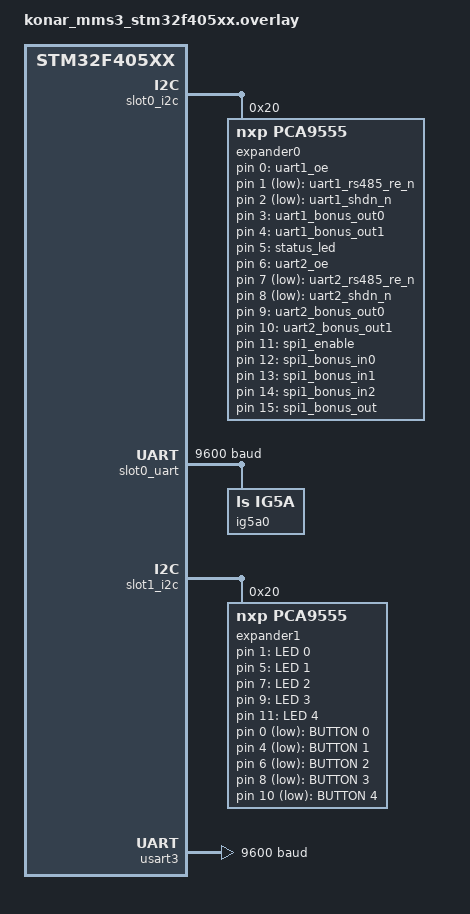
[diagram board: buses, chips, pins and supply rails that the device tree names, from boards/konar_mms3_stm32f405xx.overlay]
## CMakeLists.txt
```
cmake_minimum_required(VERSION 3.20.0)
set(CMAKE_EXPORT_COMPILE_COMMANDS ON)

find_package(Zephyr REQUIRED HINTS $ENV{ZEPHYR_BASE})
project(MMS3_panel_kruszarka)

target_sources(app PRIVATE src/main.c)
```

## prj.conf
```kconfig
# Enable the console subsystem
CONFIG_CONSOLE=y
CONFIG_I2C=y

CONFIG_USE_SEGGER_RTT=y
CONFIG_RTT_CONSOLE=y

# Optional: Enable full logging system if you want to use LOG_INF() macros
CONFIG_LOG=y
CONFIG_LOG_BACKEND_RTT=y

CONFIG_LOG_DEFAULT_LEVEL=3

CONFIG_MMS_CHAINBUS=y
CONFIG_GPIO_PCA_SERIES=y
CONFIG_GPIO_PCA_SERIES_INIT_PRIORITY=61

CONFIG_RTC=y

CONFIG_IG5A=y
```

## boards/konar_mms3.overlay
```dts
/* SPDX-License-Identifier: Apache-2.0 */
chainbus_i2c: &i2c2 {};
chainbus_spi: &spi3 {};

&usart3{
    current-speed = <9600>;
};


/ {
    aliases {
        chainbus-led0 = &hat1_led0;
        chainbus-led1 = &hat1_led1;
        chainbus-led2 = &hat1_led2;
        chainbus-led3 = &hat1_led3;
        chainbus-led4 = &hat1_led4;

        chainbus-button0 = &hat1_button0;
        chainbus-button1 = &hat1_button1;
        chainbus-button2 = &hat1_button2;
        chainbus-button3 = &hat1_button3;
        chainbus-button4 = &hat1_button4;
    };
    /* Parent Chainbus Hardware Controller */
    chainbus0: chainbus {
        compatible = "konar,mms-chainbus";
        status = "okay";

        /* 8 Slot Chip Select GPIOs (Adjust pin assignments for your board) */
        cs-gpios = <&gpioc 9 GPIO_ACTIVE_LOW>,  /* Slot 0 */
               <&gpiob 5 GPIO_ACTIVE_LOW>,  /* Slot 1 */
               <&gpioa 7 GPIO_ACTIVE_LOW>,  /* Slot 2 */
               <&gpioa 6 GPIO_ACTIVE_LOW>,  /* Slot 3 */
               <&gpioa 5 GPIO_ACTIVE_LOW>,  /* Slot 4 */
               <&gpioc 6 GPIO_ACTIVE_LOW>,  /* Slot 5 */
               <&gpioc 7 GPIO_ACTIVE_LOW>,  /* Slot 6 */
               <&gpioc 8 GPIO_ACTIVE_LOW>;  /* Slot 7 */

        #address-cells = <1>;
        #size-cells = <0>;

        hat_protocol: hat0@0{
            compatible = "konar,mms-hat";
            reg = <0>;


            slot0_i2c: i2c-bridge {
                compatible = "konar,mms-hat-i2c-bridge";
                i2c-bus = <&i2c2>; /* Physical I2C Controller */
                #address-cells = <1>;
                #size-cells = <0>;

                expander0: gpio@20 {
                    compatible = "nxp,pca9555";
                    reg = <0x20>;
                    gpio-controller;
                    #gpio-cells = <2>;
                    ngpios = <16>;
                    status = "okay";
                };
            };


            slot0_uart: uart-bridge{
                compatible = "konar,mms-hat-uart-bridge";
                uart-bus = <&usart3>;
                current-speed = <9600>;
            };

                        /*
             * TCA9535 GPIO pinout
             *
             * P00-P07 = GPIO 0-7
             * P10-P17 = GPIO 8-15
             */
             
            hat0_gpios {
                compatible = "gpio-leds";

                /* UART 1 */
                
                uart1_oe: uart1-oe {
                    gpios = <&expander0 0 GPIO_ACTIVE_HIGH>;
                    label = "uart1_oe";
                };

                uart1_rs485_re_n: uart1-rs485-re-n {
                    gpios = <&expander0 1 GPIO_ACTIVE_LOW>;
                    label = "uart1_rs485_re_n";
                };

                uart1_shdn_n: uart1-shdn-n {
                    gpios = <&expander0 2 GPIO_ACTIVE_LOW>;
                    label = "uart1_shdn_n";
                };

                uart1_bonus_out0: uart1-bonus-out0 {
                    gpios = <&expander0 3 GPIO_ACTIVE_HIGH>;
                    label = "uart1_bonus_out0";
                };

                uart1_bonus_out1: uart1-bonus-out1 {
                    gpios = <&expander0 4 GPIO_ACTIVE_HIGH>;
                    label = "uart1_bonus_out1";
                };

                status_led: status-led {
                    gpios = <&expander0 5 GPIO_ACTIVE_HIGH>;
                    label = "status_led";
                };
                

                /* UART 2 */
                
                uart2_oe: uart2-oe {
                    gpios = <&expander0 6 GPIO_ACTIVE_HIGH>;
                    label = "uart2_oe";
                };

                uart2_rs485_re_n: uart2-rs485-re-n {
                    gpios = <&expander0 7 GPIO_ACTIVE_LOW>;
                    label = "uart2_rs485_re_n";
                };

                uart2_shdn_n: uart2-shdn-n {
                    gpios = <&expander0 8 GPIO_ACTIVE_LOW>;
                    label = "uart2_shdn_n";
                };

                uart2_bonus_out0: uart2-bonus-out0 {
                    gpios = <&expander0 9 GPIO_ACTIVE_HIGH>;
                    label = "uart2_bonus_out0";
                };

                uart2_bonus_out1: uart2-bonus-out1 {
                    gpios = <&expander0 10 GPIO_ACTIVE_HIGH>;
                    label = "uart2_bonus_out1";
                };

                /* SPI 1 */
                spi1_enable: spi1-enable {
                    gpios = <&expander0 11 GPIO_ACTIVE_HIGH>;
                    label = "spi1_enable";
                };

                spi1_bonus_in0: spi1-bonus-in0 {
                    gpios = <&expander0 12 GPIO_ACTIVE_HIGH>;
                    label = "spi1_bonus_in0";
                };

                spi1_bonus_in1: spi1-bonus-in1 {
                    gpios = <&expander0 13 GPIO_ACTIVE_HIGH>;
                    label = "spi1_bonus_in1";
                };

                spi1_bonus_in2: spi1-bonus-in2 {
                    gpios = <&expander0 14 GPIO_ACTIVE_HIGH>;
                    label = "spi1_bonus_in2";
                };

                spi1_bonus_out: spi1-bonus-out {
                    gpios = <&expander0 15 GPIO_ACTIVE_HIGH>;
                    label = "spi1_bonus_out";
                };
            };
            
        };

        hat_expander: hat1@1{
            compatible = "konar,mms-hat";
            reg = <1>;

            slot1_i2c: i2c-bridge{
                compatible = "konar,mms-hat-i2c-bridge";
                i2c-bus = <&i2c2>;
                #address-cells = <1>;
                #size-cells = <0>;

                expander1: gpio@20 {
                    compatible = "nxp,pca9555";
                    reg = <0x20>;
                    gpio-controller;
                    #gpio-cells = <2>;
                    ngpios = <16>;
                };
            };

            leds{
                compatible = "gpio-leds";
                hat1_led0: led_0{
                    label = "LED 0";
                    gpios = <&expander1 1 GPIO_ACTIVE_HIGH>;
                };
                hat1_led1: led_1{
                    label = "LED 1";
                    gpios = <&expander1 5 GPIO_ACTIVE_HIGH>;
                };
                hat1_led2: led_2{
                    label = "LED 2";
                    gpios = <&expander1 7 GPIO_ACTIVE_HIGH>;
                };
                hat1_led3: led_3{
                    label = "LED 3";
                    gpios = <&expander1 9 GPIO_ACTIVE_HIGH>;
                };
                hat1_led4: led_4{
                    label = "LED 4";
                    gpios = <&expander1 11 GPIO_ACTIVE_HIGH>;
                };
            };
            buttons{
                compatible = "gpio-keys";
                hat1_button0: button_0{
                    label = "BUTTON 0";
                    gpios = <&expander1 0 (GPIO_PULL_UP | GPIO_ACTIVE_LOW)>;
                };
                hat1_button1: button_1{
                    label = "BUTTON 1";
                    gpios = <&expander1 4 (GPIO_PULL_UP | GPIO_ACTIVE_LOW)>;
                };
                hat1_button2: button_2{
                    label = "BUTTON 2";
                    gpios = <&expander1 6 (GPIO_PULL_UP | GPIO_ACTIVE_LOW)>;
                };
                hat1_button3: button_3{
                    label = "BUTTON 3";
                    gpios = <&expander1 8 (GPIO_PULL_UP | GPIO_ACTIVE_LOW)>;
                };
                hat1_button4: button_4{
                    label = "BUTTON 4";
                    gpios = <&expander1 10 (GPIO_PULL_UP | GPIO_ACTIVE_LOW)>;
                };
            };

        };

    };
};
```

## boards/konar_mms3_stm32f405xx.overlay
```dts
/* SPDX-License-Identifier: Apache-2.0 */
chainbus_i2c: &i2c2 {};
chainbus_spi: &spi3 {};

&usart3{
    current-speed = <9600>;
};


/ {
    aliases {
        chainbus-led0 = &hat1_led0;
        chainbus-led1 = &hat1_led1;
        chainbus-led2 = &hat1_led2;
        chainbus-led3 = &hat1_led3;
        chainbus-led4 = &hat1_led4;

        chainbus-button0 = &hat1_button0;
        chainbus-button1 = &hat1_button1;
        chainbus-button2 = &hat1_button2;
        chainbus-button3 = &hat1_button3;
        chainbus-button4 = &hat1_button4;
    };


    /* Parent Chainbus Hardware Controller */
    chainbus0: chainbus {
        compatible = "konar,mms-chainbus";
        status = "okay";

        /* 8 Slot Chip Select GPIOs (Adjust pin assignments for your board) */
        cs-gpios = <&gpioc 9 GPIO_ACTIVE_LOW>,  /* Slot 0 */
               <&gpiob 5 GPIO_ACTIVE_LOW>,  /* Slot 1 */
               <&gpioa 7 GPIO_ACTIVE_LOW>,  /* Slot 2 */
               <&gpioa 6 GPIO_ACTIVE_LOW>,  /* Slot 3 */
               <&gpioa 5 GPIO_ACTIVE_LOW>,  /* Slot 4 */
               <&gpioc 6 GPIO_ACTIVE_LOW>,  /* Slot 5 */
               <&gpioc 7 GPIO_ACTIVE_LOW>,  /* Slot 6 */
               <&gpioc 8 GPIO_ACTIVE_LOW>;  /* Slot 7 */

        #address-cells = <1>;
        #size-cells = <0>;

        hat_protocol: hat0@0{
            compatible = "konar,mms-hat";
            reg = <0>;


            slot0_i2c: i2c-bridge {
                compatible = "konar,mms-hat-i2c-bridge";
                i2c-bus = <&i2c2>; /* Physical I2C Controller */
                #address-cells = <1>;
                #size-cells = <0>;

                expander0: gpio@20 {
                    compatible = "nxp,pca9555";
                    reg = <0x20>;
                    gpio-controller;
                    #gpio-cells = <2>;
                    ngpios = <16>;
                    status = "okay";
                };
            };


            slot0_uart: uart-bridge{
                compatible = "konar,mms-hat-uart-bridge";
                uart-bus = <&usart3>;
                current-speed = <9600>;


                ig5a0: inverter {
                    compatible = "ls,ig5a";
                    uart = <&slot0_uart>;
                    slave-address = <0x01>;
                    status = "okay";
                };
            };

                        /*
             * TCA9535 GPIO pinout
             *
             * P00-P07 = GPIO 0-7
             * P10-P17 = GPIO 8-15
             */
             
            hat0_gpios {
                compatible = "gpio-leds";

                /* UART 1 */
                
                uart1_oe: uart1-oe {
                    gpios = <&expander0 0 GPIO_ACTIVE_HIGH>;
                    label = "uart1_oe";
                };

                uart1_rs485_re_n: uart1-rs485-re-n {
                    gpios = <&expander0 1 GPIO_ACTIVE_LOW>;
                    label = "uart1_rs485_re_n";
                };

                uart1_shdn_n: uart1-shdn-n {
                    gpios = <&expander0 2 GPIO_ACTIVE_LOW>;
                    label = "uart1_shdn_n";
                };

                uart1_bonus_out0: uart1-bonus-out0 {
                    gpios = <&expander0 3 GPIO_ACTIVE_HIGH>;
                    label = "uart1_bonus_out0";
                };

                uart1_bonus_out1: uart1-bonus-out1 {
                    gpios = <&expander0 4 GPIO_ACTIVE_HIGH>;
                    label = "uart1_bonus_out1";
                };

                status_led: status-led {
                    gpios = <&expander0 5 GPIO_ACTIVE_HIGH>;
                    label = "status_led";
                };
                

                /* UART 2 */
                
                uart2_oe: uart2-oe {
                    gpios = <&expander0 6 GPIO_ACTIVE_HIGH>;
                    label = "uart2_oe";
                };

                uart2_rs485_re_n: uart2-rs485-re-n {
                    gpios = <&expander0 7 GPIO_ACTIVE_LOW>;
                    label = "uart2_rs485_re_n";
                };

                uart2_shdn_n: uart2-shdn-n {
                    gpios = <&expander0 8 GPIO_ACTIVE_LOW>;
                    label = "uart2_shdn_n";
                };

                uart2_bonus_out0: uart2-bonus-out0 {
                    gpios = <&expander0 9 GPIO_ACTIVE_HIGH>;
                    label = "uart2_bonus_out0";
                };

                uart2_bonus_out1: uart2-bonus-out1 {
                    gpios = <&expander0 10 GPIO_ACTIVE_HIGH>;
                    label = "uart2_bonus_out1";
                };

                /* SPI 1 */
                spi1_enable: spi1-enable {
                    gpios = <&expander0 11 GPIO_ACTIVE_HIGH>;
                    label = "spi1_enable";
                };

                spi1_bonus_in0: spi1-bonus-in0 {
                    gpios = <&expander0 12 GPIO_ACTIVE_HIGH>;
                    label = "spi1_bonus_in0";
                };

                spi1_bonus_in1: spi1-bonus-in1 {
                    gpios = <&expander0 13 GPIO_ACTIVE_HIGH>;
                    label = "spi1_bonus_in1";
                };

                spi1_bonus_in2: spi1-bonus-in2 {
                    gpios = <&expander0 14 GPIO_ACTIVE_HIGH>;
                    label = "spi1_bonus_in2";
                };

                spi1_bonus_out: spi1-bonus-out {
                    gpios = <&expander0 15 GPIO_ACTIVE_HIGH>;
                    label = "spi1_bonus_out";
                };
            };
            
        };

        hat_expander: hat1@1{
            compatible = "konar,mms-hat";
            reg = <1>;

            slot1_i2c: i2c-bridge{
                compatible = "konar,mms-hat-i2c-bridge";
                i2c-bus = <&i2c2>;
                #address-cells = <1>;
                #size-cells = <0>;

                expander1: gpio@20 {
                    compatible = "nxp,pca9555";
                    reg = <0x20>;
                    gpio-controller;
                    #gpio-cells = <2>;
                    ngpios = <16>;
                };
            };

            leds{
                compatible = "gpio-leds";
                hat1_led0: led_0{
                    label = "LED 0";
                    gpios = <&expander1 1 GPIO_ACTIVE_HIGH>;
                };
                hat1_led1: led_1{
                    label = "LED 1";
                    gpios = <&expander1 5 GPIO_ACTIVE_HIGH>;
                };
                hat1_led2: led_2{
                    label = "LED 2";
                    gpios = <&expander1 7 GPIO_ACTIVE_HIGH>;
                };
                hat1_led3: led_3{
                    label = "LED 3";
                    gpios = <&expander1 9 GPIO_ACTIVE_HIGH>;
                };
                hat1_led4: led_4{
                    label = "LED 4";
                    gpios = <&expander1 11 GPIO_ACTIVE_HIGH>;
                };
            };
            buttons{
                compatible = "gpio-keys";
                hat1_button0: button_0{
                    label = "BUTTON 0";
                    gpios = <&expander1 0 (GPIO_PULL_UP | GPIO_ACTIVE_LOW)>;
                };
                hat1_button1: button_1{
                    label = "BUTTON 1";
                    gpios = <&expander1 4 (GPIO_PULL_UP | GPIO_ACTIVE_LOW)>;
                };
                hat1_button2: button_2{
                    label = "BUTTON 2";
                    gpios = <&expander1 6 (GPIO_PULL_UP | GPIO_ACTIVE_LOW)>;
                };
                hat1_button3: button_3{
                    label = "BUTTON 3";
                    gpios = <&expander1 8 (GPIO_PULL_UP | GPIO_ACTIVE_LOW)>;
                };
                hat1_button4: button_4{
                    label = "BUTTON 4";
                    gpios = <&expander1 10 (GPIO_PULL_UP | GPIO_ACTIVE_LOW)>;
                };
            };

        };

    };
};
```

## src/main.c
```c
#include <stdio.h>
#include <zephyr/kernel.h>
#include <zephyr/device.h>
#include <zephyr/drivers/gpio.h>
#include <zephyr/drivers/uart.h>
#include <zephyr/drivers/i2c.h>
#include <zephyr/drivers/spi.h>
#include <zephyr/logging/log.h>
#include <zephyr/input/input.h>

#include "zephyr/sleep.h"

#include "drivers/inverter/ig5a.h" 

LOG_MODULE_REGISTER(main, LOG_LEVEL_INF);

#define CHAINBUS_LED_COUNT 5 
#define CHAINBUS_BUTTON_COUNT 5 


const static struct gpio_dt_spec chainbus_led[] = {
    GPIO_DT_SPEC_GET(DT_ALIAS(chainbus_led0), gpios),
    GPIO_DT_SPEC_GET(DT_ALIAS(chainbus_led1), gpios),
    GPIO_DT_SPEC_GET(DT_ALIAS(chainbus_led2), gpios),
    GPIO_DT_SPEC_GET(DT_ALIAS(chainbus_led3), gpios),
    GPIO_DT_SPEC_GET(DT_ALIAS(chainbus_led4), gpios),
};

const static struct gpio_dt_spec chainbus_button[] = {
    GPIO_DT_SPEC_GET(DT_ALIAS(chainbus_button0), gpios),
    GPIO_DT_SPEC_GET(DT_ALIAS(chainbus_button1), gpios),
    GPIO_DT_SPEC_GET(DT_ALIAS(chainbus_button2), gpios),
    GPIO_DT_SPEC_GET(DT_ALIAS(chainbus_button3), gpios),
    GPIO_DT_SPEC_GET(DT_ALIAS(chainbus_button4), gpios),
};


#define CHAINBUS_NODE DT_NODELABEL(chainbus0)

static const struct gpio_dt_spec cs[8] = {
    GPIO_DT_SPEC_GET_BY_IDX(CHAINBUS_NODE, cs_gpios, 0),
    GPIO_DT_SPEC_GET_BY_IDX(CHAINBUS_NODE, cs_gpios, 1),
    GPIO_DT_SPEC_GET_BY_IDX(CHAINBUS_NODE, cs_gpios, 2),
    GPIO_DT_SPEC_GET_BY_IDX(CHAINBUS_NODE, cs_gpios, 3),
    GPIO_DT_SPEC_GET_BY_IDX(CHAINBUS_NODE, cs_gpios, 4),
    GPIO_DT_SPEC_GET_BY_IDX(CHAINBUS_NODE, cs_gpios, 5),
    GPIO_DT_SPEC_GET_BY_IDX(CHAINBUS_NODE, cs_gpios, 6),
    GPIO_DT_SPEC_GET_BY_IDX(CHAINBUS_NODE, cs_gpios, 7),
};


enum PanelPins{
    CRUSHER_ROTATE_RIGHT,
    CRUSHER_SPEED_UP,
    CRUSHER_ROTATE_LEFT,
    CRUSHER_SPEED_DOWN,
    CRUSHER_STOP,
    
};

enum CrusherMovement{
    CRUSHER_MOVEMENT_STOP,
    CRUSHER_MOVEMENT_LEFT,
    CRUSHER_MOVEMENT_RIGHT
};

#define MIN_FREQUENCY 10.0f
#define MAX_FREQUENCY 50.0f
#define FREQUENCY_STEP 1.0f
#define FREQUENCY_REPEAT_MS 300.0f

int frequency = 10;
int64_t last_frequency_change = 0;



enum ExpanderPinouts{
    UART1_OE = 0,
    UART1_RS485_RE_N,
    UART1_SHDN_N,
    UART1_BONUS_OUT0,
    UART1_BONUS_OUT1,
    STATUS_LED,
    UART2_OE,
    UART2_RS485_RE_N,
    UART2_SHDN_N,
    UART2_BONUS_OUT0,
    UART2_BONUS_OUT1,
    SPI1_ENABLE,
    SPI1_BONUS_IN0,
    SPI1_BONUS_IN1,
    SPI1_BONUS_IN2,
    SPI1_BONUS_OUT
};
const static struct gpio_dt_spec expander_pinouts[] = {
    GPIO_DT_SPEC_GET(DT_NODELABEL(uart1_oe),gpios),
    GPIO_DT_SPEC_GET(DT_NODELABEL(uart1_rs485_re_n),gpios),
    GPIO_DT_SPEC_GET(DT_NODELABEL(uart1_shdn_n),gpios),
    GPIO_DT_SPEC_GET(DT_NODELABEL(uart1_bonus_out0),gpios),
    GPIO_DT_SPEC_GET(DT_NODELABEL(uart1_bonus_out1),gpios),
    GPIO_DT_SPEC_GET(DT_NODELABEL(status_led),gpios),
    GPIO_DT_SPEC_GET(DT_NODELABEL(uart2_oe),gpios),
    GPIO_DT_SPEC_GET(DT_NODELABEL(uart2_rs485_re_n),gpios),
    GPIO_DT_SPEC_GET(DT_NODELABEL(uart2_shdn_n),gpios),
    GPIO_DT_SPEC_GET(DT_NODELABEL(uart2_bonus_out0),gpios),
    GPIO_DT_SPEC_GET(DT_NODELABEL(uart2_bonus_out1),gpios),
    GPIO_DT_SPEC_GET(DT_NODELABEL(spi1_enable),gpios),
    GPIO_DT_SPEC_GET(DT_NODELABEL(spi1_bonus_in0),gpios),
    GPIO_DT_SPEC_GET(DT_NODELABEL(spi1_bonus_in1),gpios),
    GPIO_DT_SPEC_GET(DT_NODELABEL(spi1_bonus_in2),gpios),
    GPIO_DT_SPEC_GET(DT_NODELABEL(spi1_bonus_out),gpios)
};

#define EXPANDER_PINOUTS_COUNT 16

const struct device *uart_dev = DEVICE_DT_GET(DT_NODELABEL(slot0_uart));


const struct device *inverter = DEVICE_DT_GET(DT_NODELABEL(ig5a0));
enum CrusherMovement crusherMovement = CRUSHER_MOVEMENT_STOP; 

#define DEBOUNCE_MS 50

static int raw_button_state[CHAINBUS_BUTTON_COUNT] = {0};
static int stable_button_state[CHAINBUS_BUTTON_COUNT] = {0};
static int64_t button_change_time[CHAINBUS_BUTTON_COUNT] = {0};


int init();
void operatePanel();
void read_buttons_debounced(int buttons[]);
void increase_frequency(void);
void decrease_frequency(void);
void crusher_stop(void);
void crusher_rotate_left(void);
void crusher_rotate_right(void);
void crusher_stop_when_rotating(void);

int main(void)
{
    if(init()){
        LOG_ERR("INIT FAILED!");
        return -1;
    }


    while (1) {
        operatePanel();
    }

    return 0;
}


int init(){
    int ret; 

    for (int i = 0; i < 8; i++) {
        if (!device_is_ready(cs[i].port)) {
            return -ENODEV;
        }

        int ret = gpio_pin_configure_dt(&cs[i], GPIO_OUTPUT_INACTIVE);
        if (ret) {
            return ret;
        }
    }

    for (int i = 0; i < CHAINBUS_LED_COUNT; i++) {
        if (!device_is_ready(chainbus_led[i].port)) {
            LOG_ERR("Error: Chainbus LED device %s is not ready\n", chainbus_led[i].port->name);
            return 1;
        }
        ret = gpio_pin_configure_dt(&chainbus_led[i], GPIO_OUTPUT_ACTIVE);
        if (ret < 0) {
            LOG_ERR("Error %d: failed to configure Chainbus LED pin %d\n", ret, chainbus_led[i].pin);
            return 1;
        }
    }

    for(int i = 0; i< CHAINBUS_BUTTON_COUNT; i++){
        if (!gpio_is_ready_dt(&chainbus_button[i])) {
            LOG_ERR("GPIO not ready");
            return 1;
        }
    }

    for (int i = 0; i < CHAINBUS_LED_COUNT; i++) {
        gpio_pin_set_dt(&chainbus_led[i], 1);
    }




    for(int i = 0; i<=STATUS_LED; i++){

        if(!device_is_ready(expander_pinouts[i].port)){
           LOG_ERR("ERROR: expander pin %s device is not ready!",expander_pinouts[i].port->name) ;
           return 1;
        }
        
        ret = gpio_pin_configure_dt(&expander_pinouts[i],GPIO_OUTPUT_INACTIVE);
        if(ret){
            LOG_ERR("ERROR couldnt configure pin %s",expander_pinouts[i].port->name);
        }
    }


    if (!device_is_ready(uart_dev)) {
        LOG_ERR("UART device not ready");
        return 1;
    }



    //gpio_pin_set_dt(&expander_pinouts[UART1_OE], 1);
    gpio_pin_set_dt(&expander_pinouts[UART1_SHDN_N], 0);
    gpio_pin_set_dt(&expander_pinouts[UART1_RS485_RE_N], 1);
    //gpio_pin_set_dt(&expander_pinouts[UART2_BONUS_OUT0], 1);
    //gpio_pin_set_dt(&expander_pinouts[UART2_BONUS_OUT1], 1);


    //gpio_pin_set_dt(&expander_pinouts[UART2_OE], 1);
    //gpio_pin_set_dt(&expander_pinouts[UART2_SHDN_N], 0);
    //gpio_pin_set_dt(&expander_pinouts[UART2_RS485_RE_N], 1);
    //gpio_pin_set_dt(&expander_pinouts[UART2_BONUS_OUT0], 1);
    //gpio_pin_set_dt(&expander_pinouts[UART2_BONUS_OUT1], 1);


    if (!device_is_ready(inverter)) {
        LOG_ERR("iG5A: device not ready\n");
        return 0;
    }

    ig5a_unlock(inverter);
    ig5a_stop(inverter);
    ig5a_set_frequency(inverter, frequency);


    return 0;
}


void operatePanel(){
    int64_t now = k_uptime_get();
    int buttons[5] = {0,0,0,0,0};

    read_buttons_debounced(buttons);

    if (buttons[CRUSHER_STOP]) {
        crusher_stop();
        return;
    }
    if (now - last_frequency_change < FREQUENCY_REPEAT_MS) {
        return;
    }


    if (buttons[CRUSHER_SPEED_UP]) {
        increase_frequency();
        last_frequency_change = now;
    } else if (buttons[CRUSHER_SPEED_DOWN]) {
        decrease_frequency();
        last_frequency_change = now;
    } else if (buttons[CRUSHER_ROTATE_LEFT]) {
        crusher_rotate_left();
        last_frequency_change = now;
    } else if (buttons[CRUSHER_ROTATE_RIGHT]) {
        crusher_rotate_right();
        last_frequency_change = now;
    }
}

void read_buttons_debounced(int buttons[])
{
    int64_t now = k_uptime_get();

    for (int i = 0; i < CHAINBUS_BUTTON_COUNT; i++) {

        int raw = gpio_pin_get_dt(&chainbus_button[i]);

        if (raw < 0) {
            LOG_ERR("GPIO read error: button %d, error %d", i, raw);
            buttons[i] = 0;
            continue;
        }

        if (raw != raw_button_state[i]) {
            raw_button_state[i] = raw;
            button_change_time[i] = now;
        }

        if ((now - button_change_time[i]) >= DEBOUNCE_MS) {
            stable_button_state[i] = raw_button_state[i];
        }

        buttons[i] = stable_button_state[i];
    }
}


void increase_frequency(void)
{
    if (frequency < MAX_FREQUENCY) {
        frequency += FREQUENCY_STEP;

        if (frequency > MAX_FREQUENCY) {
            frequency = MAX_FREQUENCY;
        }

        ig5a_set_frequency(inverter, (float)frequency);
        LOG_INF("+ frequency: %d",frequency);
    }
}

void decrease_frequency(void)
{
    if (frequency > MIN_FREQUENCY) {
        frequency -= FREQUENCY_STEP;

        if (frequency < MIN_FREQUENCY) {
            frequency = MIN_FREQUENCY;
        }

        ig5a_set_frequency(inverter, (float)frequency);
        LOG_INF("- frequency: %d",frequency);
    }
}




void crusher_stop(void){
    LOG_INF("STOP");
    ig5a_stop(inverter);
    crusherMovement = CRUSHER_MOVEMENT_STOP;
}
void crusher_rotate_left(void){
    LOG_INF("Rot left");
    switch (crusherMovement) {
        case CRUSHER_MOVEMENT_STOP:
            ig5a_start(inverter, true);
            crusherMovement = CRUSHER_MOVEMENT_LEFT;
        break;
        case CRUSHER_MOVEMENT_RIGHT:
            crusher_stop_when_rotating();
            ig5a_start(inverter, true);
            crusherMovement = CRUSHER_MOVEMENT_LEFT;
        break;
        case CRUSHER_MOVEMENT_LEFT:
            crusherMovement = CRUSHER_MOVEMENT_LEFT;
        break;
        default:
            LOG_ERR("Wrong crusherMovement");
            ig5a_stop(inverter);
            crusherMovement = CRUSHER_MOVEMENT_STOP;
        break;
    }
}
void crusher_rotate_right(void){
    LOG_INF("ROT right"); // Crushing
    switch (crusherMovement) {
        case CRUSHER_MOVEMENT_STOP:
            ig5a_start(inverter, false);
            crusherMovement = CRUSHER_MOVEMENT_RIGHT;
        break;
        case CRUSHER_MOVEMENT_LEFT:
            crusher_stop_when_rotating();
            ig5a_start(inverter, false);
            crusherMovement = CRUSHER_MOVEMENT_RIGHT;
        break;
        case CRUSHER_MOVEMENT_RIGHT:
            crusherMovement = CRUSHER_MOVEMENT_RIGHT;
        break;
        default:
            LOG_ERR("Wrong crusherMovement");
            ig5a_stop(inverter);
            crusherMovement = CRUSHER_MOVEMENT_STOP;
        break;
    }
}

void crusher_stop_when_rotating(void){
    ig5a_stop(inverter);
    if(frequency <= 10){
        k_sleep(K_SECONDS(3));
    }else if(frequency <= 20){
        k_sleep(K_SECONDS(5));
    }else if(frequency <= 30){
        k_sleep(K_SECONDS(7));
    }else if(frequency <= 40){
        k_sleep(K_SECONDS(8));
    }else if(frequency <= 50){
        k_sleep(K_SECONDS(10));
    }
}
```
